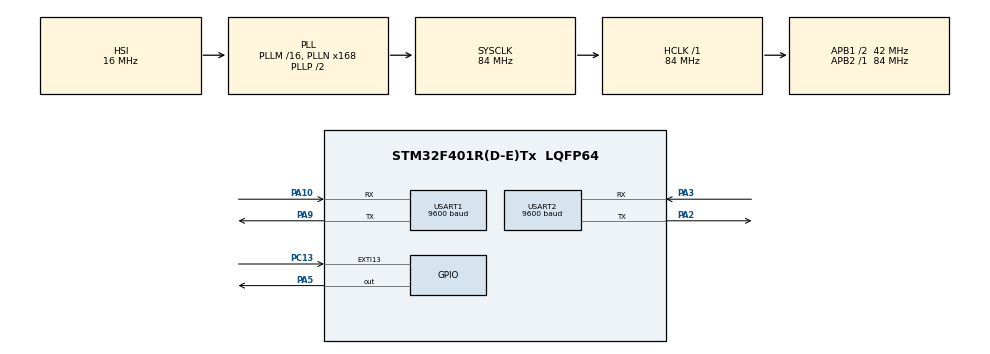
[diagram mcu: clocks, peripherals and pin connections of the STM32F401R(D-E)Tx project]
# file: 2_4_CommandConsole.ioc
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FREERTOS.Tasks01=CommandTask,24,512,vCommandTask,Default,NULL,Dynamic,NULL,NULL;RxCollectorTask,24,256,vRxCollectorTask,Default,NULL,Dynamic,NULL,NULL
FREERTOS.configUSE_NEWLIB_REENTRANT=1
Mcu.Family=STM32F4
Mcu.Name=STM32F401R(D-E)Tx
Mcu.Package=LQFP64
NVIC.PriorityGroup=NVIC_PRIORITYGROUP_4
NVIC.TIM5_IRQn=true\:15\:0\:false\:false\:true\:false\:false\:true\:true
NVIC.TimeBase=TIM5_IRQn
NVIC.TimeBaseIP=TIM5
PA10.Mode=Asynchronous
PA10.Signal=USART1_RX
PA2.Mode=Asynchronous
PA2.Signal=USART2_TX
PA3.Mode=Asynchronous
PA3.Signal=USART2_RX
PA5.Signal=GPIO_Output
PA9.Mode=Asynchronous
PA9.Signal=USART1_TX
PC13-ANTI_TAMP.Signal=GPXTI13
ProjectManager.HeapSize=0x200
ProjectManager.StackSize=0x400
ProjectManager.TargetToolchain=STM32CubeIDE
RCC.48MHZClocksFreq_Value=42000000
RCC.AHBFreq_Value=84000000
RCC.APB1CLKDivider=RCC_HCLK_DIV2
RCC.APB1Freq_Value=42000000
RCC.APB1TimFreq_Value=84000000
RCC.APB2Freq_Value=84000000
RCC.APB2TimFreq_Value=84000000
RCC.CortexFreq_Value=84000000
RCC.HCLKFreq_Value=84000000
RCC.HSE_VALUE=25000000
RCC.HSI_VALUE=16000000
RCC.LSE_VALUE=32768
RCC.PLLN=168
RCC.SYSCLKFreq_VALUE=84000000
RCC.SYSCLKSource=RCC_SYSCLKSOURCE_PLLCLK
RCC.VCOOutputFreq_Value=168000000
USART1.BaudRate=9600
USART1.VirtualMode=VM_ASYNC
USART2.BaudRate=9600
USART2.VirtualMode=VM_ASYNC
VP_FREERTOS_VS_CMSIS_V2.Mode=CMSIS_V2
VP_SYS_VS_tim5.Mode=TIM5
board=custom

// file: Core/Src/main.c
/* USER CODE BEGIN Header */
/**
  ******************************************************************************
  * @file           : main.c
  * @brief          : Main program body
  ******************************************************************************
  * @attention
  *
  * Copyright (c) 2026 STMicroelectronics.
  * All rights reserved.
  *
  * This software is licensed under terms that can be found in the LICENSE file
  * in the root directory of this software component.
  * If no LICENSE file comes with this software, it is provided AS-IS.
  *
  ******************************************************************************
  */
/* USER CODE END Header */
#include "main.h"
#include "cmsis_os.h"

/* USER CODE BEGIN Includes */
#include "queue.h"
#include "semphr.h"
#include "event_groups.h"
#include "string.h"
#include <stdio.h>
#include "ctype.h"
/* USER CODE END Includes */

/* USER CODE BEGIN PD */
#define EVT_CMD_READY	(1<<0)
#define CMD_MAX_LENGTH	64
/* USER CODE END PD */

UART_HandleTypeDef huart1;
UART_HandleTypeDef huart2;

/* Definitions for CommandTask */
osThreadId_t CommandTaskHandle;
const osThreadAttr_t CommandTask_attributes = {
  .name = "CommandTask",
  .stack_size = 512 * 4,
  .priority = (osPriority_t) osPriorityNormal,
};
/* Definitions for RxCollectorTask */
osThreadId_t RxCollectorTaskHandle;
const osThreadAttr_t RxCollectorTask_attributes = {
  .name = "RxCollectorTask",
  .stack_size = 256 * 4,
  .priority = (osPriority_t) osPriorityNormal,
};
/* USER CODE BEGIN PV */
/*
 * xCharQueue : ISR -> RxCollectorTask
 * 				Each received byte goes her
 * 				Depth=32: can buffer 32 characters before task process them
 */
QueueHandle_t xCharQueue;

SemaphoreHandle_t xUARTMutex;

EventGroupHandle_t xCmdEvent;

char cmdBuffer[CMD_MAX_LENGTH];

uint8_t rxByte;

/* USER CODE END PV */

void SystemClock_Config(void);
static void MX_GPIO_Init(void);
static void MX_USART1_UART_Init(void);
static void MX_USART2_UART_Init(void);
void vCommandTask(void *argument);
void vRxCollectorTask(void *argument);

int main(void)
{

  /* USER CODE BEGIN 1 */
	xCharQueue =xQueueCreate(32,sizeof(uint8_t));
	if(xCharQueue == NULL) Error_Handler();

	xUARTMutex = xSemaphoreCreateMutex();
	if(xUARTMutex == NULL) Error_Handler();

	xCmdEvent = xEventGroupCreate();
	if(xCmdEvent == NULL) Error_Handler();

  /* USER CODE END 1 */

  /* MCU Configuration--------------------------------------------------------*/

  /* Reset of all peripherals, Initializes the Flash interface and the Systick. */
  HAL_Init();

  /* Configure the system clock */
  SystemClock_Config();

  /* Initialize all configured peripherals */
  MX_GPIO_Init();
  MX_USART1_UART_Init();
  MX_USART2_UART_Init();

  /* Init scheduler */
  osKernelInitialize();

  /* Create the thread(s) */
  /* creation of CommandTask */
  CommandTaskHandle = osThreadNew(vCommandTask, NULL, &CommandTask_attributes);

  /* creation of RxCollectorTask */
  RxCollectorTaskHandle = osThreadNew(vRxCollectorTask, NULL, &RxCollectorTask_attributes);

  /* Start scheduler */
  osKernelStart();

  /* We should never get here as control is now taken by the scheduler */

  /* Infinite loop */
  while (1)
  {

  }
}

void SystemClock_Config(void)
{
  RCC_OscInitTypeDef RCC_OscInitStruct = {0};
  RCC_ClkInitTypeDef RCC_ClkInitStruct = {0};

  /** Configure the main internal regulator output voltage
  */
  __HAL_RCC_PWR_CLK_ENABLE();
  __HAL_PWR_VOLTAGESCALING_CONFIG(PWR_REGULATOR_VOLTAGE_SCALE2);

  /** Initializes the RCC Oscillators according to the specified parameters
  * in the RCC_OscInitTypeDef structure.
  */
  RCC_OscInitStruct.OscillatorType = RCC_OSCILLATORTYPE_HSI;
  RCC_OscInitStruct.HSIState = RCC_HSI_ON;
  RCC_OscInitStruct.HSICalibrationValue = RCC_HSICALIBRATION_DEFAULT;
  RCC_OscInitStruct.PLL.PLLState = RCC_PLL_ON;
  RCC_OscInitStruct.PLL.PLLSource = RCC_PLLSOURCE_HSI;
  RCC_OscInitStruct.PLL.PLLM = 16;
  RCC_OscInitStruct.PLL.PLLN = 168;
  RCC_OscInitStruct.PLL.PLLP = RCC_PLLP_DIV2;
  RCC_OscInitStruct.PLL.PLLQ = 4;
  if (HAL_RCC_OscConfig(&RCC_OscInitStruct) != HAL_OK)
  {
    Error_Handler();
  }

  /** Initializes the CPU, AHB and APB buses clocks
  */
  RCC_ClkInitStruct.ClockType = RCC_CLOCKTYPE_HCLK|RCC_CLOCKTYPE_SYSCLK
                              |RCC_CLOCKTYPE_PCLK1|RCC_CLOCKTYPE_PCLK2;
  RCC_ClkInitStruct.SYSCLKSource = RCC_SYSCLKSOURCE_PLLCLK;
  RCC_ClkInitStruct.AHBCLKDivider = RCC_SYSCLK_DIV1;
  RCC_ClkInitStruct.APB1CLKDivider = RCC_HCLK_DIV2;
  RCC_ClkInitStruct.APB2CLKDivider = RCC_HCLK_DIV1;

  if (HAL_RCC_ClockConfig(&RCC_ClkInitStruct, FLASH_LATENCY_2) != HAL_OK)
  {
    Error_Handler();
  }
}

static void MX_USART1_UART_Init(void)
{

  huart1.Instance = USART1;
  huart1.Init.BaudRate = 9600;
  huart1.Init.WordLength = UART_WORDLENGTH_8B;
  huart1.Init.StopBits = UART_STOPBITS_1;
  huart1.Init.Parity = UART_PARITY_NONE;
  huart1.Init.Mode = UART_MODE_TX_RX;
  huart1.Init.HwFlowCtl = UART_HWCONTROL_NONE;
  huart1.Init.OverSampling = UART_OVERSAMPLING_16;
  if (HAL_UART_Init(&huart1) != HAL_OK)
  {
    Error_Handler();
  }

}

static void MX_USART2_UART_Init(void)
{

  huart2.Instance = USART2;
  huart2.Init.BaudRate = 9600;
  huart2.Init.WordLength = UART_WORDLENGTH_8B;
  huart2.Init.StopBits = UART_STOPBITS_1;
  huart2.Init.Parity = UART_PARITY_NONE;
  huart2.Init.Mode = UART_MODE_TX_RX;
  huart2.Init.HwFlowCtl = UART_HWCONTROL_NONE;
  huart2.Init.OverSampling = UART_OVERSAMPLING_16;
  if (HAL_UART_Init(&huart2) != HAL_OK)
  {
    Error_Handler();
  }

}

static void MX_GPIO_Init(void)
{
  GPIO_InitTypeDef GPIO_InitStruct = {0};

  /* GPIO Ports Clock Enable */
  __HAL_RCC_GPIOC_CLK_ENABLE();
  __HAL_RCC_GPIOA_CLK_ENABLE();

  /*Configure GPIO pin Output Level */
  HAL_GPIO_WritePin(GPIOA, GPIO_PIN_5, GPIO_PIN_RESET);

  /*Configure GPIO pin : PC13 */
  GPIO_InitStruct.Pin = GPIO_PIN_13;
  GPIO_InitStruct.Mode = GPIO_MODE_IT_RISING;
  GPIO_InitStruct.Pull = GPIO_NOPULL;
  HAL_GPIO_Init(GPIOC, &GPIO_InitStruct);

  /*Configure GPIO pin : PA5 */
  GPIO_InitStruct.Pin = GPIO_PIN_5;
  GPIO_InitStruct.Mode = GPIO_MODE_OUTPUT_PP;
  GPIO_InitStruct.Pull = GPIO_NOPULL;
  GPIO_InitStruct.Speed = GPIO_SPEED_FREQ_LOW;
  HAL_GPIO_Init(GPIOA, &GPIO_InitStruct);

}

/* USER CODE BEGIN 4 */
void vPrintSafe(const char *msg){
	xSemaphoreTake(xUARTMutex,portMAX_DELAY);
	HAL_UART_Transmit(&huart2, (uint8_t*)msg, strlen(msg), 200);
	xSemaphoreGive(xUARTMutex);
}

void vRearmUARTRx(void){
	HAL_UART_Receive_IT(&huart2, (uint8_t*)&rxByte, 1);
}
/* USER CODE END 4 */

void vCommandTask(void *argument)
{
  for(;;)
  {
    osDelay(1);
  }
}

void vRxCollectorTask(void *argument)
{
  for(;;)
  {
    osDelay(1);
  }
}

void HAL_TIM_PeriodElapsedCallback(TIM_HandleTypeDef *htim)
{
  if (htim->Instance == TIM5)
  {
    HAL_IncTick();
  }
}

void Error_Handler(void)
{
  __disable_irq();
  while (1)
  {
  }
}
